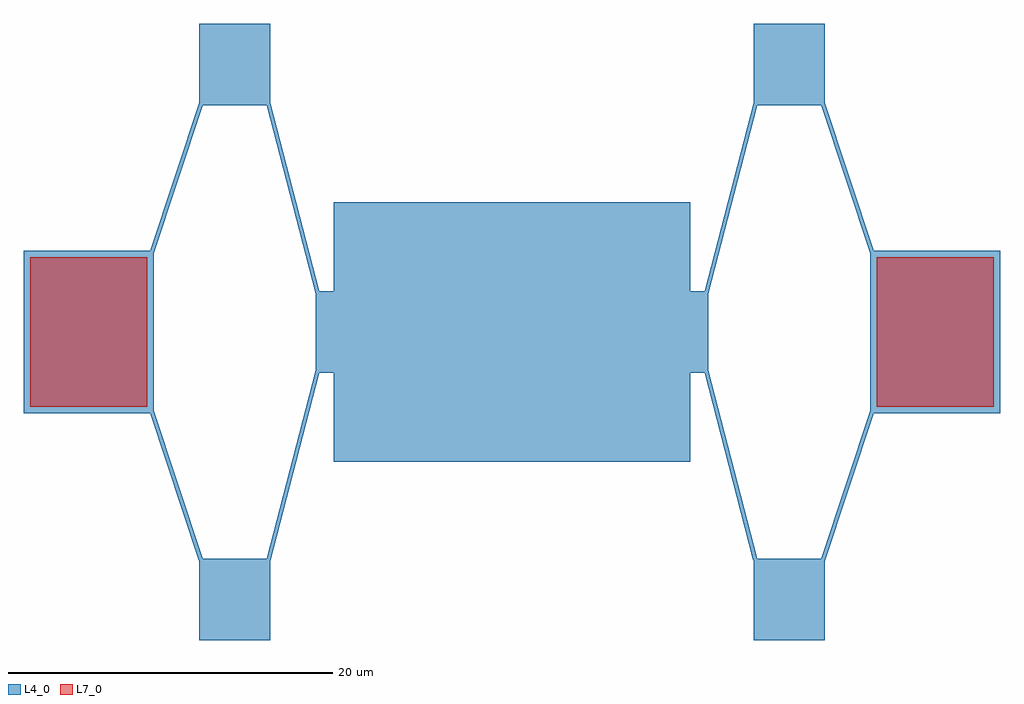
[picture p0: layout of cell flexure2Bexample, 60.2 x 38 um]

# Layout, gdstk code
import gdstk
lib = gdstk.Library(unit=1e-6, precision=1e-09)
def R(c, l, rs):  # rectangles x0, y0, x1, y1
    for r in rs: c.add(gdstk.rectangle(r[:2], r[2:], *l))
def P(c, l, *ps):  # polygons
    for p in ps: c.add(gdstk.Polygon(p, *l))
L4_0 = (4, 0)
L7_0 = (7, 0)

flexure2bexample = lib.new_cell('flexure2Bexample')
R(flexure2bexample, L4_0, [(-11,-8,11,8)])
P(flexure2bexample, L4_0, [(-19.3,-19),(-19.3,-14.145),(-19.348,-14),(-15.122,-14),(-12.1,-2.359),(-12.1,2.359),(-15.122,14),(-19.085,14),(-22.1,4.855),(-22.1,-4.855),(-19.085,-14),(-19.348,-14),(-22.315,-5),(-30.1,-5),(-30.1,5),(-22.315,5),(-19.3,14.145),(-19.3,19),(-14.9,19),(-14.9,14.141),(-11.878,2.5),(-11,2.5),(-11,-2.5),(-11.878,-2.5),(-14.9,-14.141),(-14.9,-19)],
  [(-19.3,-19),(-19.3,-14.145),(-19.348,-14),(-15.122,-14),(-12.1,-2.359),(-12.1,2.359),(-15.122,14),(-19.085,14),(-22.1,4.855),(-22.1,-4.855),(-19.085,-14),(-19.348,-14),(-22.315,-5),(-30.1,-5),(-30.1,5),(-22.315,5),(-19.3,14.145),(-19.3,19),(-14.9,19),(-14.9,14.141),(-11.878,2.5),(-11,2.5),(-11,-2.5),(-11.878,-2.5),(-14.9,-14.141),(-14.9,-19)],
  [(14.9,-19),(14.9,-14.141),(14.863,-14),(19.085,-14),(22.1,-4.855),(22.1,4.855),(19.085,14),(15.122,14),(12.1,2.359),(12.1,-2.359),(15.122,-14),(14.863,-14),(11.878,-2.5),(11,-2.5),(11,2.5),(11.878,2.5),(14.9,14.141),(14.9,19),(19.3,19),(19.3,14.145),(22.315,5),(30.1,5),(30.1,-5),(22.315,-5),(19.3,-14.145),(19.3,-19)])
R(flexure2bexample, L7_0, [(-29.7,-4.6,-22.5,4.6), (22.5,-4.6,29.7,4.6)])

lib.write_gds('flexure2Bexample.gds')
